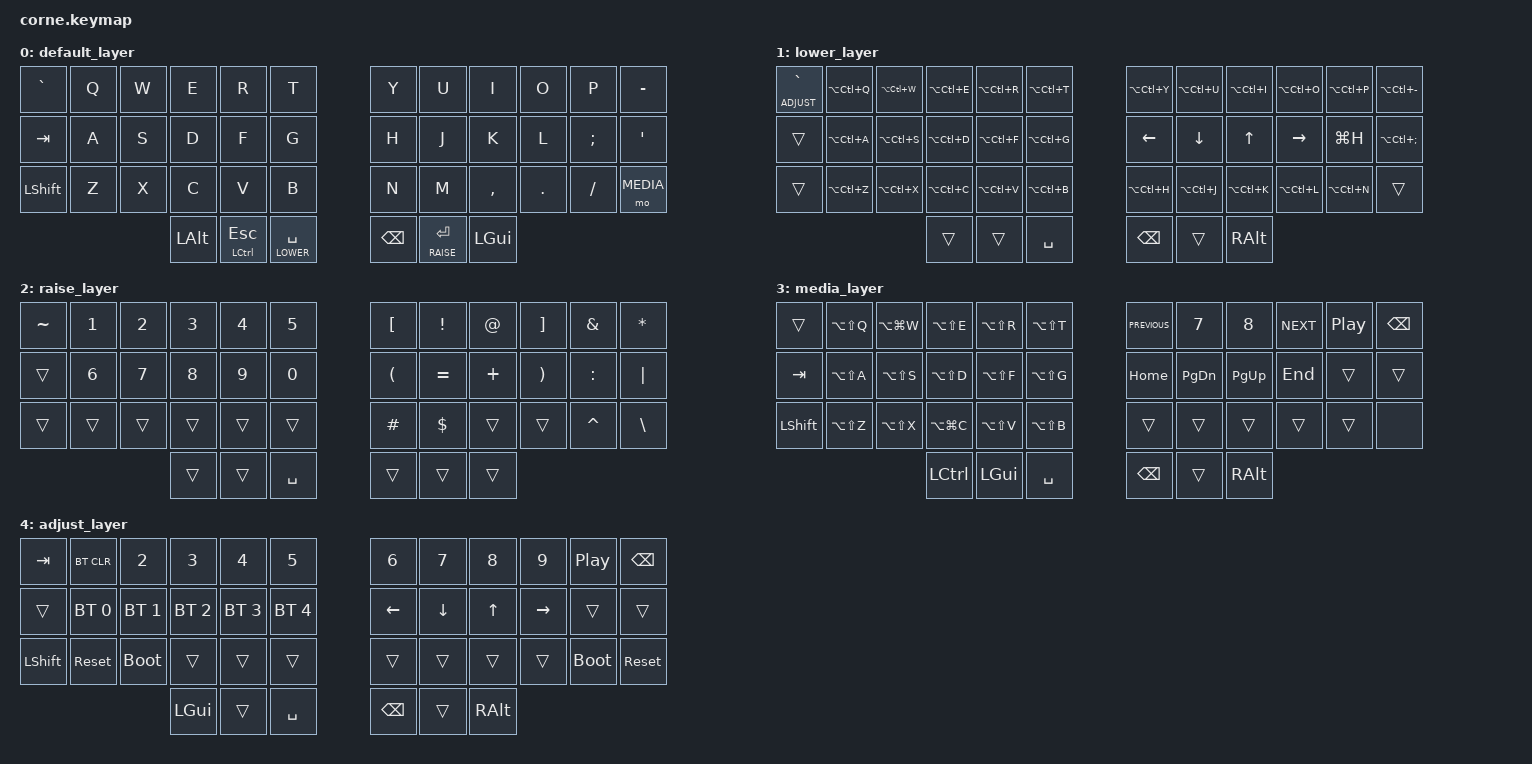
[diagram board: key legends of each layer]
/*
 * Copyright (c) 2020 The ZMK Contributors
 *
 * SPDX-License-Identifier: MIT
 * To enter bootloader: LOWER(hold space) ADJUST(hold grave) sys_reset (Z)
 */

#include <behaviors.dtsi>
#include <dt-bindings/zmk/keys.h>
#include <dt-bindings/zmk/bt.h>
#define DEFAULT 0
#define LOWER 1
#define RAISE 2
#define MEDIA 3
#define ADJUST 4


/ {
        keymap {
                compatible = "zmk,keymap";

                default_layer {
// -----------------------------------------------------------------------------------------
// |  TAB |  Q  |  W  |  E  |  R  |  T  |   |  Y  |  U   |  I  |  O  |  P  | BKSP |
// | CTRL |  A  |  S  |  D  |  F  |  G  |   |  H  |  J   |  K  |  L  |  ;  |  '   |
// | SHFT |  Z  |  X  |  C  |  V  |  B  |   |  N  |  M   |  ,  |  .  |  /  | ESC  |
//                    | GUI | LWR | SPC |   | ENT | RSE  | ALT |
                        bindings = <
   &kp GRAVE &kp Q &kp W &kp E &kp R &kp T        &kp Y &kp U  &kp I     &kp O   &kp P    &kp MINUS
   &kp TAB &kp A &kp S &kp D &kp F &kp G          &kp H &kp J  &kp K     &kp L   &kp SEMI &kp SQT
   &kp LSHFT &kp Z &kp X &kp C &kp V &kp B        &kp N &kp M  &kp COMMA &kp DOT &kp FSLH &mo MEDIA
         &kp LALT &mt LCTRL ESC &lt LOWER SPACE   &kp BSPC &lt RAISE RET &kp LGUI
                        >;
                };


                lower_layer {
// -----------------------------------------------------------------------------------------
// |      |  1  |  2  |  3  |  4  |  5  |   |  6  |  7  |  8  |  9  |  0  | BKSP |
// |      | BT1 | BT2 | BT3 | BT4 | BT5 |   | LFT | DWN |  UP | RGT |     |      |
// |      |     |     |     |     |     |   |     |     |     |     |     |      |
//                    | GUI |     | SPC |   | ENT |     | ALT |
                        bindings = <
   &lt ADJUST GRAVE  &kp LA(LC(Q))  &kp LA(LC(W)) &kp LA(LC(E)) &kp LA(LC(R)) &kp LA(LC(T))         &kp LA(LC(Y))   &kp LA(LC(U))  &kp LA(LC(I)) &kp LA(LC(O))    &kp LA(LC(P)) &kp LA(LC(MINUS))
   &trans  &kp LA(LC(A))  &kp LA(LC(S)) &kp LA(LC(D)) &kp LA(LC(F)) &kp LA(LC(G))         &kp LEFT        &kp DOWN        &kp UP        &kp RIGHT        &kp LG(H)        &kp LA(LC(SEMI))
   &trans  &kp LA(LC(Z))  &kp LA(LC(X)) &kp LA(LC(C)) &kp LA(LC(V)) &kp LA(LC(B))         &kp LA(LC(H))   &kp LA(LC(J))   &kp LA(LC(K)) &kp LA(LC(L))    &kp LA(LC(N)) &trans
                                                        &trans   &trans  &kp SPACE      &kp BSPC  &trans   &kp RALT
                        >;
                };

                raise_layer {
// -----------------------------------------------------------------------------------------
// |      |  !  |  @  |  #  |  $  |  %  |   |  [  |  !  |  @  |  ]  |  &  |  *   |
// |      |     |     |     |     |     |   |  (  |  =  |  +  |  )  |  :  |  "|" |
// |      |     |     |     |     |     |   |  #  |  $  |  ,  |  .  |  ^  |  \   |
//                    | GUI |     | SPC |   | ENT |     | ALT |
                        bindings = <
   &kp TILDE &kp N1  &kp N2 &kp N3   &kp N4 &kp N5       &kp LBKT  &kp EXCL  &kp AT      &kp RBKT &kp AMPS  &kp STAR
   &trans     &kp N6  &kp N7 &kp N8   &kp N9 &kp N0       &kp LPAR  &kp EQUAL &kp PLUS &kp RPAR &kp COLON &kp PIPE
   &trans     &trans  &trans &trans   &trans &trans       &kp HASH  &kp DLLR  &trans   &trans   &kp CARET &kp BSLH
                        &trans   &trans   &kp SPACE       &trans   &trans    &trans
                        >;
                };
                media_layer {




                        bindings = <
   &trans    &kp LA(LS(Q))  &kp LA(LG(W)) &kp LA(LS(E)) &kp LA(LS(R)) &kp LA(LS(T))         &kp C_PREVIOUS   &kp N7   &kp N8 &kp C_NEXT    &kp C_PLAY_PAUSE      &kp BSPC
   &kp TAB     &kp LA(LS(A))  &kp LA(LS(S)) &kp LA(LS(D)) &kp LA(LS(F)) &kp LA(LS(G))       &kp HOME &kp PG_DN &kp PG_UP &kp END &trans      &trans
   &kp LSHFT  &kp LA(LS(Z))  &kp LA(LS(X)) &kp LA(LG(C)) &kp LA(LS(V)) &kp LA(LS(B))        &trans   &trans   &trans &trans    &trans &none
                                           &kp LCTRL     &kp LGUI      &kp SPACE            &kp BSPC &trans  &kp RALT
                        >;
                };

                adjust_layer {
// -----------------------------------------------------------------------------------------
// |  TAB |  1  |  2  |  3  |  4  |  5  |   |  6  |  7  |  8  |  9  |  0  | BKSP |
// | BTCLR| BT1 | BT2 | BT3 | BT4 | BT5 |   | LFT | DWN |  UP | RGT |     |      |
// | SHFT |     |     |     |     |     |   |     |     |     |     |     |      |
//                    | GUI |     | SPC |   | ENT |     | ALT |
                        bindings = <
   &kp TAB    &bt BT_CLR  &kp N2       &kp N3       &kp N4       &kp N5         &kp N6   &kp N7   &kp N8 &kp N9    &kp C_PLAY_PAUSE      &kp BSPC
   &trans &bt BT_SEL 0    &bt BT_SEL 1 &bt BT_SEL 2 &bt BT_SEL 3 &bt BT_SEL 4   &kp LEFT &kp DOWN &kp UP &kp RIGHT &trans      &trans
   &kp LSHFT  &sys_reset      &bootloader  &trans       &trans       &trans         &trans   &trans   &trans &trans    &bootloader &sys_reset
                          	       &kp LGUI     &trans       &kp SPACE      &kp BSPC &trans   &kp RALT
                        >;
                };
        };
};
